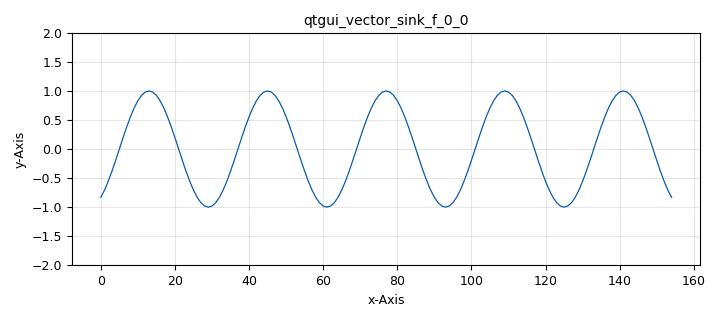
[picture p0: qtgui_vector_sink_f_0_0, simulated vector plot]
<?xml version='1.0' encoding='utf-8'?>
<?grc format='1' created='3.7.13'?>
<flow_graph>
<block>
<key>options</key>
<param><key>id</key><value>top_block</value></param>
<param><key>generate_options</key><value>qt_gui</value></param>
</block>
<block>
<key>variable</key>
<param><key>id</key><value>N</value></param>
<param><key>value</key><value>155</value></param>
</block>
<block>
<key>variable</key>
<param><key>id</key><value>samp_rate</value></param>
<param><key>value</key><value>32000</value></param>
</block>
<block>
<key>E3TRadio_vector_average_hob</key>
<param><key>id</key><value>E3TRadio_vector_average_hob_0</value></param>
<param><key>Nensayos</key><value>1000000000</value></param>
<param><key>N</key><value>N</value></param>
</block>
<block>
<key>analog_sig_source_x</key>
<param><key>id</key><value>analog_sig_source_x_0</value></param>
<param><key>amp</key><value>1</value></param>
<param><key>freq</key><value>1000</value></param>
<param><key>offset</key><value>0</value></param>
<param><key>type</key><value>float</value></param>
<param><key>samp_rate</key><value>samp_rate</value></param>
<param><key>waveform</key><value>analog.GR_COS_WAVE</value></param>
</block>
<block>
<key>blocks_stream_to_vector</key>
<param><key>id</key><value>blocks_stream_to_vector_0</value></param>
<param><key>type</key><value>float</value></param>
<param><key>num_items</key><value>N</value></param>
</block>
<block>
<key>blocks_throttle</key>
<param><key>id</key><value>blocks_throttle_0</value></param>
<param><key>samples_per_second</key><value>samp_rate</value></param>
<param><key>type</key><value>float</value></param>
</block>
<block>
<key>epy_block</key>
<param><key>id</key><value>epy_block_0</value></param>
<param><key>_source_code</key><value>import numpy as np
from gnuradio import gr


class blk(gr.sync_block):  # other base classes are basic_block, decim_block, interp_block
    """calculate the mean of a staocastic process that comes as a signal. it is considered that every new frame of N samples is a new sample function of the process"""

    def __init__(self, N=128, Nensayos=1000): 


        gr.sync_block.__init__(
            self,
            name='e_stoc_proc_mean_ff',   # will show up in GRC
            in_sig=[(np.float32, N)],
            out_sig=[(np.float32, N)]
        )
        self.N = N
        self.Nensayos = Nensayos
        self.med=np.empty(N,dtype=np.float32)
#        self.med=np.zeros(N)
        self.count=np.uint64=0

    def work(self, input_items, output_items):
        in0 = input_items[0][0, :]
        out0=output_items[0]
        if self.count &lt; self.Nensayos:
            self.count += 1	
        self.med = self.med*(self.count-1)/self.count+in0/self.count
        out0[:]=self.med
        return len(out0)
</value></param>
<param><key>_enabled</key><value>0</value></param>
<param><key>N</key><value>N</value></param>
<param><key>Nensayos</key><value>10000</value></param>
</block>
<block>
<key>qtgui_vector_sink_f</key>
<param><key>id</key><value>qtgui_vector_sink_f_0</value></param>
<param><key>showports</key><value>True</value></param>
<param><key>vlen</key><value>N</value></param>
<param><key>x_start</key><value>0</value></param>
<param><key>x_step</key><value>1.0</value></param>
<param><key>ymax</key><value>0.0004</value></param>
<param><key>ymin</key><value>-0.0004</value></param>
</block>
<block>
<key>qtgui_vector_sink_f</key>
<param><key>id</key><value>qtgui_vector_sink_f_0_0</value></param>
<param><key>showports</key><value>True</value></param>
<param><key>vlen</key><value>N</value></param>
<param><key>x_start</key><value>0</value></param>
<param><key>x_step</key><value>1.0</value></param>
<param><key>ymax</key><value>2</value></param>
<param><key>ymin</key><value>-2</value></param>
</block>
<connection><source_block_id>E3TRadio_vector_average_hob_0</source_block_id><sink_block_id>qtgui_vector_sink_f_0</sink_block_id><source_key>0</source_key><sink_key>0</sink_key></connection>
<connection><source_block_id>analog_sig_source_x_0</source_block_id><sink_block_id>blocks_throttle_0</sink_block_id><source_key>0</source_key><sink_key>0</sink_key></connection>
<connection><source_block_id>blocks_stream_to_vector_0</source_block_id><sink_block_id>E3TRadio_vector_average_hob_0</sink_block_id><source_key>0</source_key><sink_key>0</sink_key></connection>
<connection><source_block_id>blocks_stream_to_vector_0</source_block_id><sink_block_id>epy_block_0</sink_block_id><source_key>0</source_key><sink_key>0</sink_key></connection>
<connection><source_block_id>blocks_stream_to_vector_0</source_block_id><sink_block_id>qtgui_vector_sink_f_0_0</sink_block_id><source_key>0</source_key><sink_key>0</sink_key></connection>
<connection><source_block_id>blocks_throttle_0</source_block_id><sink_block_id>blocks_stream_to_vector_0</sink_block_id><source_key>0</source_key><sink_key>0</sink_key></connection>
<connection><source_block_id>epy_block_0</source_block_id><sink_block_id>qtgui_vector_sink_f_0</sink_block_id><source_key>0</source_key><sink_key>0</sink_key></connection>
</flow_graph>
